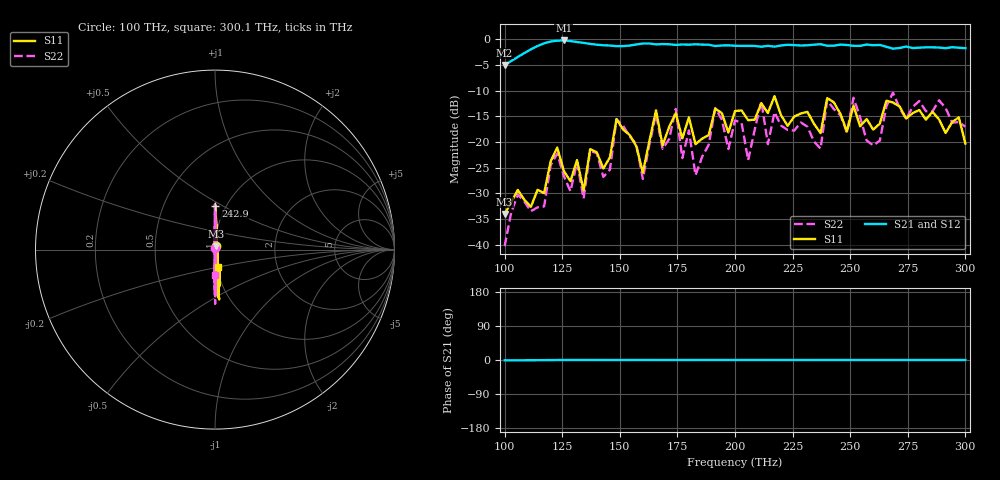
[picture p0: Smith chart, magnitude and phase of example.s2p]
!This S-parameter file was generated as part of the OIDT. This project was completed as part of research conducted with my major professor and advisor, Prof. Ata Zadehgol, at the Applied and Computational Electromagnetics Signal and Power Integrity (ACEM-SPI) Lab while working toward the Ph.D. in El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
!Created with skrf (http://scikit-rf.org).
# Hz S RI R 50.0
!freq ReS11 ImS11 ReS21 ImS21 ReS12 ImS12 ReS22 ImS22
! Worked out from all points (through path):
!   71 points, 100 THz to 300.1 THz, reference 50 ohm
!   highest |S21| = -0.24 dB at 125.7 THz (marker M1); lowest = -5.0 dB at 100 THz (marker M2)
!   lowest |S11| = -34.0 dB at 100 THz (marker M3), VSWR 1.04, Z = 50.7 + j1.88 ohm
!   |S11| at or under -10 dB: start of sweep to end of sweep
!   |S22| runs from -40.3 to -10.4 dB; largest |S21 - S12| = 0
!   S11 on the Smith chart (normalised r, x): 100 THz: 1.01, +0.04; 242.9 THz: 0.89, +0.46; 300.1 THz: 1.01, -0.19
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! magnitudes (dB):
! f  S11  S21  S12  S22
! 100 THz  -34.0  -5.0  -5.0  -40.3
! 105.7 THz  -29.3  -3.5  -3.5  -30.2
! 125.7 THz  -25.7  -0.2  -0.2  -26.6
! 134.3 THz  -29.5  -0.7  -0.7  -31.0
! 137.2 THz  -21.4  -0.9  -0.9  -21.7
! 145.7 THz  -23.0  -1.2  -1.2  -25.4
! 148.6 THz  -15.5  -1.4  -1.4  -15.5
! 160 THz  -25.9  -0.8  -0.8  -27.2
! 165.7 THz  -13.8  -1.0  -1.0  -14.6
! 168.6 THz  -20.6  -0.9  -0.9  -21.3
! 174.3 THz  -14.4  -1.1  -1.1  -13.6
! 182.9 THz  -20.4  -1.0  -1.0  -26.5
! 191.5 THz  -13.5  -1.3  -1.3  -13.4
! 200 THz  -14.0  -1.3  -1.3  -15.8
! 205.7 THz  -15.8  -1.3  -1.3  -23.5
! 211.5 THz  -12.5  -1.5  -1.5  -12.1
! 214.3 THz  -14.4  -1.3  -1.3  -20.4
! 234.3 THz  -16.5  -1.1  -1.1  -19.9
! 242.9 THz  -12.3  -1.3  -1.3  -13.6
! 260 THz  -17.6  -1.2  -1.2  -20.7
! 268.6 THz  -12.3  -1.8  -1.8  -10.4
! 300.1 THz  -20.3  -1.7  -1.7  -17.0
